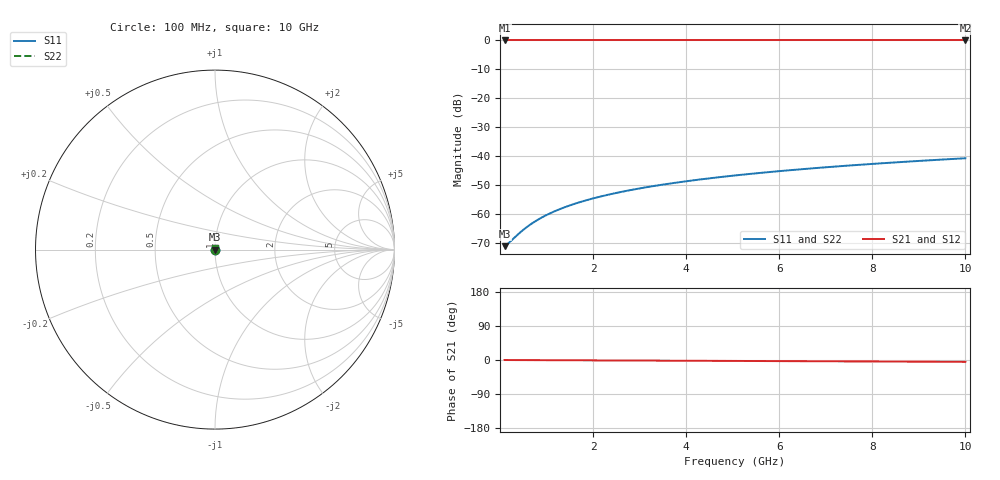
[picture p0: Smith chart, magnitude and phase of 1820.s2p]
# Hz S RI R 50.00
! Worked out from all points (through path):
!   100 points, 100 MHz to 10 GHz, reference 50 ohm
!   highest |S21| = 0.00 dB at 100 MHz (marker M1); lowest = 0.0 dB at 10 GHz (marker M2)
!   lowest |S11| = -71.2 dB at 100 MHz (marker M3), VSWR 1.00, Z = 50 + j0.00911 ohm
!   |S11| at or under -10 dB: start of sweep to end of sweep
!   |S22| runs from -71.2 to -40.8 dB; largest |S21 - S12| = 0
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1e8  0.000259 9.11e-05  0.9997 -0.000849  0.9997 -0.000849  0.000259 9.11e-05
2e8  0.000261 0.000182  0.9997 -0.0017  0.9997 -0.0017  0.000261 0.000182
4e8  0.000263 0.000364  0.9997 -0.0034  0.9997 -0.0034  0.000263 0.000364
5e8  0.000265 0.000455  0.9997 -0.00425  0.9997 -0.00425  0.000265 0.000455
6e8  0.000266 0.000546  0.9997 -0.00509  0.9997 -0.00509  0.000266 0.000546
7e8  0.000267 0.000637  0.9997 -0.00594  0.9997 -0.00594  0.000267 0.000637
8e8  0.000269 0.000728  0.9997 -0.00679  0.9997 -0.00679  0.000269 0.000728
1e9  0.000272 0.00091  0.9997 -0.00849  0.9997 -0.00849  0.000272 0.00091
1.2e9  0.000276 0.00109  0.9997 -0.0102  0.9997 -0.0102  0.000276 0.00109
1.5e9  0.000283 0.00136  0.9996 -0.0127  0.9996 -0.0127  0.000283 0.00136
1.8e9  0.000291 0.00164  0.9996 -0.0153  0.9996 -0.0153  0.000291 0.00164
2.1e9  0.0003 0.00191  0.9996 -0.0178  0.9996 -0.0178  0.0003 0.00191
2.5e9  0.000314 0.00227  0.9995 -0.0212  0.9995 -0.0212  0.000314 0.00227
2.9e9  0.000331 0.00263  0.9994 -0.0246  0.9994 -0.0246  0.000331 0.00263
3.4e9  0.000355 0.00309  0.9993 -0.0289  0.9993 -0.0289  0.000355 0.00309
4.2e9  0.000402 0.00381  0.9991 -0.0357  0.9991 -0.0357  0.000402 0.00381
5.1e9  0.000467 0.00462  0.9987 -0.0434  0.9987 -0.0434  0.000467 0.00462
5.9e9  0.000535 0.00535  0.9984 -0.0502  0.9984 -0.0502  0.000535 0.00535
6.7e9  0.000613 0.00607  0.998 -0.0571  0.998 -0.0571  0.000613 0.00607
7.5e9  0.000701 0.0068  0.9976 -0.0639  0.9976 -0.0639  0.000701 0.0068
8.4e9  0.000812 0.00762  0.9971 -0.0717  0.9971 -0.0717  0.000812 0.00762
1e10  0.00104 0.00908  0.996 -0.0854  0.996 -0.0854  0.00104 0.00908
